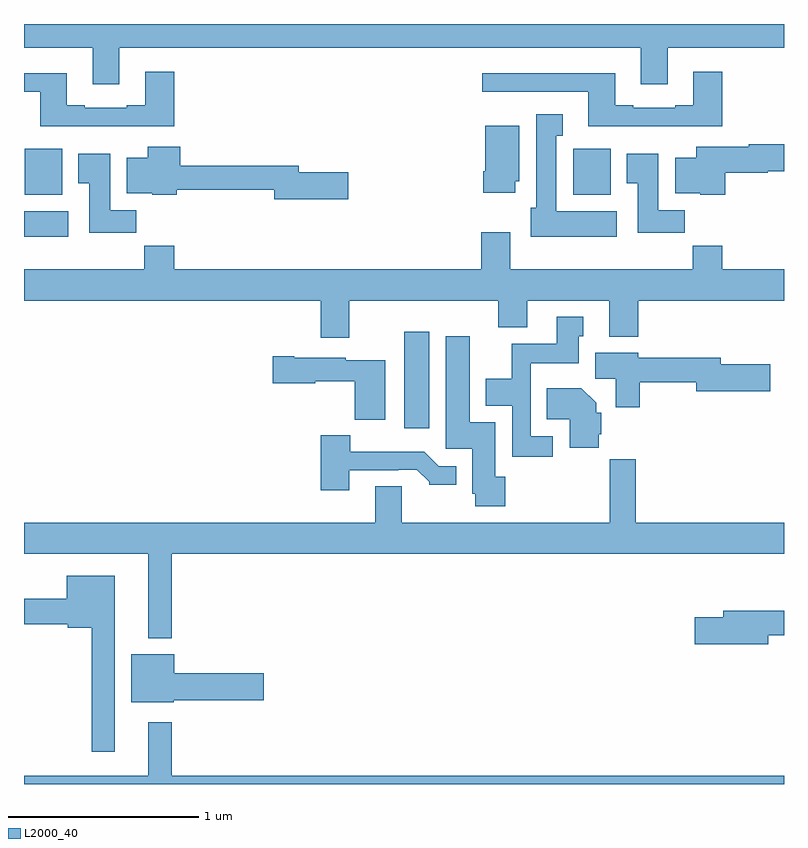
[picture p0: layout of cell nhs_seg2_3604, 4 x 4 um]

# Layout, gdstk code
import gdstk
lib = gdstk.Library(unit=1e-6, precision=1e-09)
def R(c, l, rs):  # rectangles x0, y0, x1, y1
    for r in rs: c.add(gdstk.rectangle(r[:2], r[2:], *l))
def P(c, l, *ps):  # polygons
    for p in ps: c.add(gdstk.Polygon(p, *l))
L2000_40 = (2000, 40)

nhs_seg2_3604 = lib.new_cell('nhs_seg2_3604')
R(nhs_seg2_3604, L2000_40, [(303.002,605.673,303.133,606.181), (301,606.68,301.234,606.814), (301.004,606.902,301.201,607.144), (303.89,606.902,304.087,607.144)])
P(nhs_seg2_3604, L2000_40, [(301.501,607.676),(304.247,607.676),(304.247,607.482),(304.387,607.482),(304.387,607.676),(305,607.676),(305,607.8),(301,607.8),(301,607.676),(301.361,607.676),(301.361,607.482),(301.501,607.482)],
  [(301.79,607.549),(301.637,607.549),(301.637,607.372),(301.541,607.372),(301.541,607.359),(301.321,607.359),(301.321,607.372),(301.225,607.372),(301.225,607.54),(301,607.54),(301,607.443),(301.085,607.443),(301.085,607.262),(301.79,607.262)],
  [(304.676,607.549),(304.523,607.549),(304.523,607.372),(304.427,607.372),(304.427,607.359),(304.207,607.359),(304.207,607.372),(304.111,607.372),(304.111,607.54),(303.411,607.54),(303.411,607.443),(303.971,607.443),(303.971,607.262),(304.676,607.262)],
  [(304.12,606.814),(303.802,606.814),(303.802,607.211),(303.835,607.211),(303.835,607.324),(303.695,607.324),(303.695,606.834),(303.668,606.834),(303.668,606.68),(304.12,606.68)],
  [(303.586,606.972),(303.607,606.972),(303.607,607.264),(303.428,607.264),(303.428,607.024),(303.416,607.024),(303.416,606.912),(303.586,606.912)],
  [(304.691,607.016),(304.914,607.016),(304.914,607.024),(305,607.024),(305,607.168),(304.814,607.168),(304.814,607.153),(304.538,607.153),(304.538,607.096),(304.427,607.096),(304.427,606.908),(304.56,606.908),(304.56,606.902),(304.691,606.902)],
  [(302.707,607.019),(302.446,607.019),(302.446,607.055),(301.823,607.055),(301.823,607.153),(301.652,607.153),(301.652,607.096),(301.541,607.096),(301.541,606.908),(301.674,606.908),(301.674,606.902),(301.805,606.902),(301.805,606.927),(302.318,606.927),(302.318,606.877),(302.707,606.877)],
  [(301.592,606.82),(301.453,606.82),(301.453,607.117),(301.286,607.117),(301.286,606.961),(301.343,606.961),(301.343,606.702),(301.592,606.702)],
  [(304.478,606.82),(304.339,606.82),(304.339,607.117),(304.172,607.117),(304.172,606.961),(304.229,606.961),(304.229,606.702),(304.478,606.702)],
  [(302.713,606.344),(303.497,606.344),(303.497,606.203),(303.649,606.203),(303.649,606.344),(304.079,606.344),(304.079,606.155),(304.232,606.155),(304.232,606.344),(305,606.344),(305,606.508),(304.676,606.508),(304.676,606.632),(304.519,606.632),(304.519,606.508),(303.559,606.508),(303.559,606.703),(303.407,606.703),(303.407,606.508),(301.79,606.508),(301.79,606.632),(301.633,606.632),(301.633,606.508),(301,606.508),(301,606.344),(302.561,606.344),(302.561,606.15),(302.713,606.15)],
  [(303.784,605.631),(303.666,605.631),(303.666,606.014),(303.919,606.014),(303.919,606.156),(303.943,606.156),(303.943,606.259),(303.803,606.259),(303.803,606.118),(303.568,606.118),(303.568,605.932),(303.431,605.932),(303.431,605.792),(303.57,605.792),(303.57,605.523),(303.784,605.523)],
  [(303.533,605.418),(303.481,605.418),(303.481,605.704),(303.346,605.704),(303.346,606.157),(303.221,606.157),(303.221,605.565),(303.359,605.565),(303.359,605.328),(303.376,605.328),(303.376,605.262),(303.533,605.262)],
  [(304.242,605.914),(304.538,605.914),(304.538,605.867),(304.927,605.867),(304.927,606.009),(304.666,606.009),(304.666,606.043),(304.234,606.043),(304.234,606.07),(304.007,606.07),(304.007,605.932),(304.114,605.932),(304.114,605.784),(304.242,605.784)],
  [(302.902,606.031),(302.694,606.031),(302.694,606.043),(302.422,606.043),(302.422,606.051),(302.31,606.051),(302.31,605.909),(302.532,605.909),(302.532,605.921),(302.74,605.921),(302.74,605.717),(302.902,605.717)],
  [(304.025,605.64),(304.039,605.64),(304.039,605.754),(304.012,605.754),(304.012,605.806),(303.934,605.884),(303.751,605.884),(303.751,605.72),(303.872,605.72),(303.872,605.57),(304.025,605.57)],
  [(302.713,605.451),(302.969,605.451),(302.969,605.454),(303.068,605.454),(303.132,605.39),(303.132,605.375),(303.274,605.375),(303.274,605.472),(303.183,605.472),(303.107,605.548),(302.716,605.548),(302.716,605.635),(302.561,605.635),(302.561,605.346),(302.713,605.346)],
  [(301.777,605.012),(305,605.012),(305,605.176),(304.22,605.176),(304.22,605.509),(304.084,605.509),(304.084,605.176),(302.989,605.176),(302.989,605.366),(302.849,605.366),(302.849,605.176),(301,605.176),(301,605.012),(301.655,605.012),(301.655,604.568),(301.777,604.568)],
  [(301.477,604.897),(301.226,604.897),(301.226,604.774),(301,604.774),(301,604.64),(301.23,604.64),(301.23,604.622),(301.356,604.622),(301.356,603.969),(301.477,603.969)],
  [(304.918,604.582),(305,604.582),(305,604.711),(304.679,604.711),(304.679,604.677),(304.53,604.677),(304.53,604.535),(304.918,604.535)],
  [(301.788,604.24),(302.263,604.24),(302.263,604.382),(301.792,604.382),(301.792,604.483),(301.565,604.483),(301.565,604.229),(301.788,604.229)],
  [(305,603.844),(301.777,603.844),(301.777,604.126),(301.655,604.126),(301.655,603.844),(301,603.844),(301,603.8),(305,603.8)])

lib.write_gds('nhs_seg2_3604.gds')
